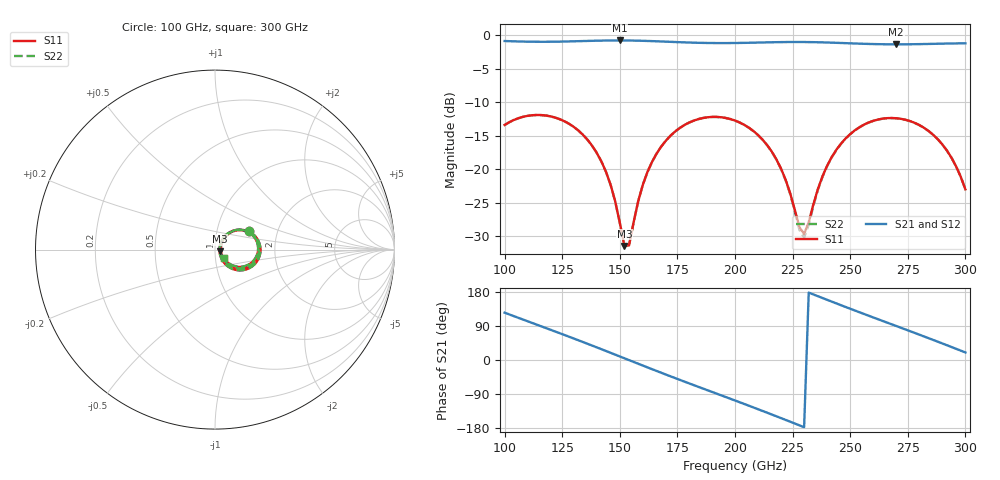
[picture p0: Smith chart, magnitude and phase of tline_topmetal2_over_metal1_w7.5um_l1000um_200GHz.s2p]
#  GHZ S DB R 50
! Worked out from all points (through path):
!   101 points, 100 GHz to 300 GHz, reference 50 ohm
!   highest |S21| = -0.82 dB at 150 GHz (marker M1); lowest = -1.4 dB at 270 GHz (marker M2)
!   group delay of S21, straight-line fit = 6.47 ps
!   lowest |S11| = -31.4 dB at 152 GHz (marker M3), VSWR 1.06, Z = 52.6 - j1 ohm
!   |S11| at or under -10 dB: start of sweep to end of sweep
!   |S22| runs from -31.5 to -11.9 dB; largest |S21 - S12| = 1.6e-13
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100  -13.40 28.4  -0.90 124.9  -0.90 124.9  -13.41 28.5
118  -12.00 -8.1  -1.01 84.1  -1.01 84.1  -12.01 -8.0
134  -14.86 -39.9  -0.91 47.5  -0.91 47.5  -14.87 -39.9
144  -20.38 -55.1  -0.83 23.8  -0.83 23.8  -20.39 -55.2
150  -27.97 -45.3  -0.82 9.4  -0.82 9.4  -28.00 -45.5
152  -31.41 -20.8  -0.82 4.5  -0.82 4.5  -31.46 -20.9
154  -31.34 20.6  -0.83 -0.3  -0.83 -0.3  -31.38 20.7
160  -22.31 54.5  -0.87 -14.7  -0.87 -14.7  -22.31 54.6
168  -16.61 45.9  -0.97 -33.7  -0.97 -33.7  -16.61 45.9
184  -12.54 15.5  -1.16 -70.6  -1.16 -70.6  -12.54 15.3
200  -12.75 -16.1  -1.20 -106.8  -1.20 -106.8  -12.75 -16.4
210  -14.90 -34.8  -1.13 -129.9  -1.13 -129.9  -14.92 -35.3
218  -18.55 -46.6  -1.07 -148.6  -1.07 -148.6  -18.58 -47.4
230  -29.63 6.4  -1.05 -177.3  -1.05 -177.3  -30.18 6.7
234  -25.25 44.7  -1.07 173.1  -1.07 173.1  -25.45 46.5
240  -19.47 50.3  -1.12 158.8  -1.12 158.8  -19.52 51.4
248  -15.42 39.7  -1.22 140.0  -1.22 140.0  -15.44 40.4
258  -13.04 21.4  -1.33 116.9  -1.33 116.9  -13.05 21.8
268  -12.37 2.0  -1.39 94.2  -1.39 94.2  -12.38 2.4
270  -12.40 -1.9  -1.39 89.7  -1.39 89.7  -12.41 -1.5
288  -15.53 -35.4  -1.31 48.3  -1.31 48.3  -15.53 -34.9
300  -23.00 -43.9  -1.24 19.9  -1.24 19.9  -22.97 -43.0
